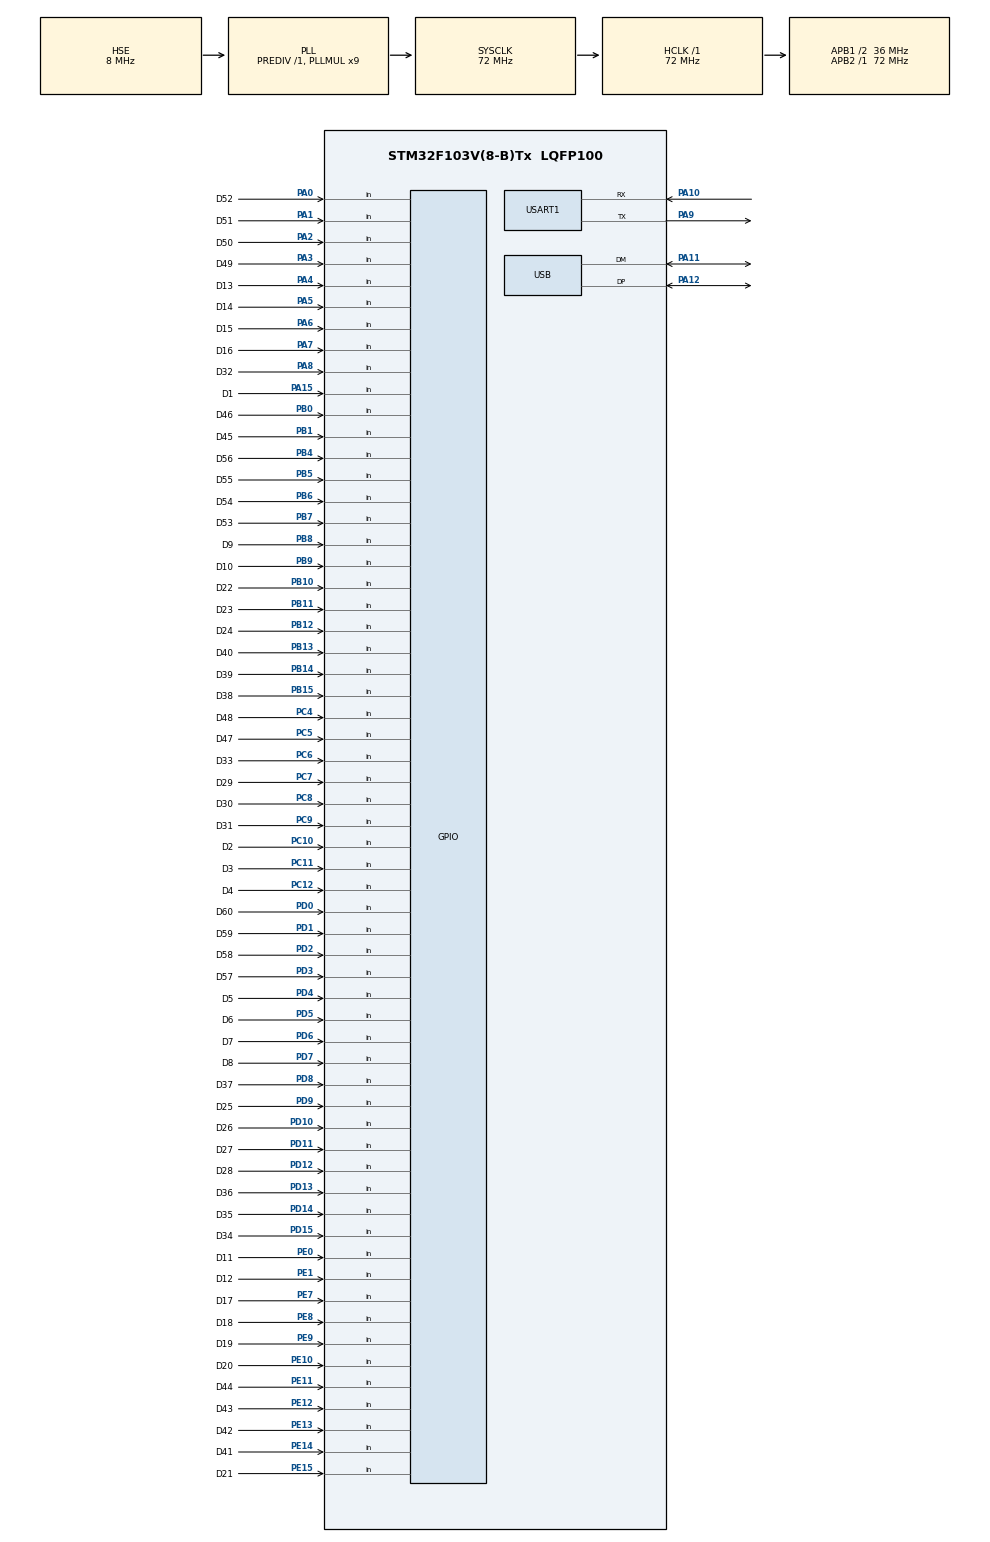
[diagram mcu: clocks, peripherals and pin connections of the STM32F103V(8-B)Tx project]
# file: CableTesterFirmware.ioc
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Mcu.Family=STM32F1
Mcu.Name=STM32F103V(8-B)Tx
Mcu.Package=LQFP100
NVIC.PriorityGroup=NVIC_PRIORITYGROUP_4
NVIC.USART1_IRQn=true\:5\:0\:true\:false\:true\:true\:true\:true
NVIC.USB_LP_CAN1_RX0_IRQn=true\:0\:0\:false\:false\:true\:false\:true\:true
OSC_IN.Mode=HSE-External-Oscillator
OSC_IN.Signal=RCC_OSC_IN
OSC_OUT.Mode=HSE-External-Oscillator
OSC_OUT.Signal=RCC_OSC_OUT
PA0-WKUP.GPIO_Label=D52
PA0-WKUP.GPIO_PuPd=GPIO_PULLDOWN
PA0-WKUP.Signal=GPIO_Input
PA1.GPIO_Label=D51
PA1.GPIO_PuPd=GPIO_PULLDOWN
PA1.Signal=GPIO_Input
PA10.Mode=Asynchronous
PA10.Signal=USART1_RX
PA11.Mode=Device
PA11.Signal=USB_DM
PA12.Mode=Device
PA12.Signal=USB_DP
PA13.Mode=Serial_Wire
PA13.Signal=SYS_JTMS-SWDIO
PA14.Mode=Serial_Wire
PA14.Signal=SYS_JTCK-SWCLK
PA15.GPIO_Label=D1
PA15.GPIO_PuPd=GPIO_PULLDOWN
PA15.Signal=GPIO_Input
PA2.GPIO_Label=D50
PA2.GPIO_PuPd=GPIO_PULLDOWN
PA2.Signal=GPIO_Input
PA3.GPIO_Label=D49
PA3.GPIO_PuPd=GPIO_PULLDOWN
PA3.Signal=GPIO_Input
PA4.GPIO_Label=D13
PA4.GPIO_PuPd=GPIO_PULLDOWN
PA4.Signal=GPIO_Input
PA5.GPIO_Label=D14
PA5.GPIO_PuPd=GPIO_PULLDOWN
PA5.Signal=GPIO_Input
PA6.GPIO_Label=D15
PA6.GPIO_PuPd=GPIO_PULLDOWN
PA6.Signal=GPIO_Input
PA7.GPIO_Label=D16
PA7.GPIO_PuPd=GPIO_PULLDOWN
PA7.Signal=GPIO_Input
PA8.GPIO_Label=D32
PA8.GPIO_PuPd=GPIO_PULLDOWN
PA8.Signal=GPIO_Input
PA9.Mode=Asynchronous
PA9.Signal=USART1_TX
PB0.GPIO_Label=D46
PB0.GPIO_PuPd=GPIO_PULLDOWN
PB0.Signal=GPIO_Input
PB1.GPIO_Label=D45
PB1.GPIO_PuPd=GPIO_PULLDOWN
PB1.Signal=GPIO_Input
PB10.GPIO_Label=D22
PB10.GPIO_PuPd=GPIO_PULLDOWN
PB10.Signal=GPIO_Input
PB11.GPIO_Label=D23
PB11.GPIO_PuPd=GPIO_PULLDOWN
PB11.Signal=GPIO_Input
PB12.GPIO_Label=D24
PB12.GPIO_PuPd=GPIO_PULLDOWN
PB12.Signal=GPIO_Input
PB13.GPIO_Label=D40
PB13.GPIO_PuPd=GPIO_PULLDOWN
PB13.Signal=GPIO_Input
PB14.GPIO_Label=D39
PB14.GPIO_PuPd=GPIO_PULLDOWN
PB14.Signal=GPIO_Input
PB15.GPIO_Label=D38
PB15.GPIO_PuPd=GPIO_PULLDOWN
PB15.Signal=GPIO_Input
PB4.GPIO_Label=D56
PB4.GPIO_PuPd=GPIO_PULLDOWN
PB4.Signal=GPIO_Input
PB5.GPIO_Label=D55
PB5.GPIO_PuPd=GPIO_PULLDOWN
PB5.Signal=GPIO_Input
PB6.GPIO_Label=D54
PB6.GPIO_PuPd=GPIO_PULLDOWN
PB6.Signal=GPIO_Input
PB7.GPIO_Label=D53
PB7.GPIO_PuPd=GPIO_PULLDOWN
PB7.Signal=GPIO_Input
PB8.GPIO_Label=D9
PB8.GPIO_PuPd=GPIO_PULLDOWN
PB8.Signal=GPIO_Input
PB9.GPIO_Label=D10
PB9.GPIO_PuPd=GPIO_PULLDOWN
PB9.Signal=GPIO_Input
PC10.GPIO_Label=D2
PC10.GPIO_PuPd=GPIO_PULLDOWN
PC10.Signal=GPIO_Input
PC11.GPIO_Label=D3
PC11.GPIO_PuPd=GPIO_PULLDOWN
PC11.Signal=GPIO_Input
PC12.GPIO_Label=D4
PC12.GPIO_PuPd=GPIO_PULLDOWN
PC12.Signal=GPIO_Input
PC4.GPIO_Label=D48
PC4.GPIO_PuPd=GPIO_PULLDOWN
PC4.Signal=GPIO_Input
PC5.GPIO_Label=D47
PC5.GPIO_PuPd=GPIO_PULLDOWN
PC5.Signal=GPIO_Input
PC6.GPIO_Label=D33
PC6.GPIO_PuPd=GPIO_PULLDOWN
PC6.Signal=GPIO_Input
PC7.GPIO_Label=D29
PC7.GPIO_PuPd=GPIO_PULLDOWN
PC7.Signal=GPIO_Input
PC8.GPIO_Label=D30
PC8.GPIO_PuPd=GPIO_PULLDOWN
PC8.Signal=GPIO_Input
PC9.GPIO_Label=D31
PC9.GPIO_PuPd=GPIO_PULLDOWN
PC9.Signal=GPIO_Input
PD0.GPIO_Label=D60
PD0.GPIO_PuPd=GPIO_PULLDOWN
PD0.Signal=GPIO_Input
PD1.GPIO_Label=D59
PD1.GPIO_PuPd=GPIO_PULLDOWN
PD1.Signal=GPIO_Input
PD10.GPIO_Label=D26
PD10.GPIO_PuPd=GPIO_PULLDOWN
PD10.Signal=GPIO_Input
PD11.GPIO_Label=D27
PD11.GPIO_PuPd=GPIO_PULLDOWN
PD11.Signal=GPIO_Input
PD12.GPIO_Label=D28
PD12.GPIO_PuPd=GPIO_PULLDOWN
PD12.Signal=GPIO_Input
PD13.GPIO_Label=D36
PD13.GPIO_PuPd=GPIO_PULLDOWN
PD13.Signal=GPIO_Input
PD14.GPIO_Label=D35
PD14.GPIO_PuPd=GPIO_PULLDOWN
PD14.Signal=GPIO_Input
PD15.GPIO_Label=D34
PD15.GPIO_PuPd=GPIO_PULLDOWN
PD15.Signal=GPIO_Input
PD2.GPIO_Label=D58
PD2.GPIO_PuPd=GPIO_PULLDOWN
PD2.Signal=GPIO_Input
PD3.GPIO_Label=D57
PD3.GPIO_PuPd=GPIO_PULLDOWN
PD3.Signal=GPIO_Input
PD4.GPIO_Label=D5
PD4.GPIO_PuPd=GPIO_PULLDOWN
PD4.Signal=GPIO_Input
PD5.GPIO_Label=D6
PD5.GPIO_PuPd=GPIO_PULLDOWN
PD5.Signal=GPIO_Input
PD6.GPIO_Label=D7
PD6.GPIO_PuPd=GPIO_PULLDOWN
PD6.Signal=GPIO_Input
PD7.GPIO_Label=D8
PD7.GPIO_PuPd=GPIO_PULLDOWN
PD7.Signal=GPIO_Input
PD8.GPIO_Label=D37
PD8.GPIO_PuPd=GPIO_PULLDOWN
PD8.Signal=GPIO_Input
PD9.GPIO_Label=D25
PD9.GPIO_PuPd=GPIO_PULLDOWN
PD9.Signal=GPIO_Input
PE0.GPIO_Label=D11
PE0.GPIO_PuPd=GPIO_PULLDOWN
PE0.Signal=GPIO_Input
PE1.GPIO_Label=D12
PE1.GPIO_PuPd=GPIO_PULLDOWN
PE1.Signal=GPIO_Input
PE10.GPIO_Label=D20
PE10.GPIO_PuPd=GPIO_PULLDOWN
PE10.Signal=GPIO_Input
PE11.GPIO_Label=D44
PE11.GPIO_PuPd=GPIO_PULLDOWN
PE11.Signal=GPIO_Input
PE12.GPIO_Label=D43
PE12.GPIO_PuPd=GPIO_PULLDOWN
PE12.Signal=GPIO_Input
PE13.GPIO_Label=D42
PE13.GPIO_PuPd=GPIO_PULLDOWN
PE13.Signal=GPIO_Input
PE14.GPIO_Label=D41
PE14.GPIO_PuPd=GPIO_PULLDOWN
PE14.Signal=GPIO_Input
PE15.GPIO_Label=D21
PE15.GPIO_PuPd=GPIO_PULLDOWN
PE15.Signal=GPIO_Input
PE7.GPIO_Label=D17
PE7.GPIO_PuPd=GPIO_PULLDOWN
PE7.Signal=GPIO_Input
PE8.GPIO_Label=D18
PE8.GPIO_PuPd=GPIO_PULLDOWN
PE8.Signal=GPIO_Input
PE9.GPIO_Label=D19
PE9.GPIO_PuPd=GPIO_PULLDOWN
PE9.Signal=GPIO_Input
ProjectManager.HeapSize=0x200
ProjectManager.StackSize=0x400
ProjectManager.TargetToolchain=CMake
RCC.AHBFreq_Value=72000000
RCC.APB1CLKDivider=RCC_HCLK_DIV2
RCC.APB1Freq_Value=36000000
RCC.APB1TimFreq_Value=72000000
RCC.APB2Freq_Value=72000000
RCC.APB2TimFreq_Value=72000000
RCC.HCLKFreq_Value=72000000
RCC.PLLMUL=RCC_PLL_MUL9
RCC.PLLSourceVirtual=RCC_PLLSOURCE_HSE
RCC.SYSCLKFreq_VALUE=72000000
RCC.SYSCLKSource=RCC_SYSCLKSOURCE_PLLCLK
RCC.USBFreq_Value=48000000
RCC.USBPrescaler=RCC_USBCLKSOURCE_PLL_DIV1_5
USART1.VirtualMode=VM_ASYNC
USB_DEVICE.CLASS_NAME_FS=WINUSB
USB_DEVICE.MANUFACTURER_STRING=Ortman
USB_DEVICE.PID_WINUSB_FS=0x5744
USB_DEVICE.PRODUCT_STRING_WINUSB_FS=CableTester
USB_DEVICE.USBD_DEBUG_LEVEL=3
USB_DEVICE.USBD_MSFT_ENABLED=1
USB_DEVICE.USBD_SELF_POWERED=0
USB_DEVICE.VID=0x483
USB_DEVICE.VirtualMode=WinUSB
USB_DEVICE.VirtualModeFS=WinUSB_FS
VP_USB_DEVICE_VS_USB_DEVICE_WINUSB_FS.Mode=WINUSB_FS
board=custom

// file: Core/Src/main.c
/* USER CODE BEGIN Header */
/**
  ******************************************************************************
  * @file           : main.c
  * @brief          : Main program body
  ******************************************************************************
  * @attention
  *
  * Copyright (c) 2026 STMicroelectronics.
  * All rights reserved.
  *
  * This software is licensed under terms that can be found in the LICENSE file
  * in the root directory of this software component.
  * If no LICENSE file comes with this software, it is provided AS-IS.
  *
  ******************************************************************************
  */
/* USER CODE END Header */
#include "main.h"
#include "usart.h"
#include "usb_device.h"
#include "gpio.h"

/* USER CODE BEGIN Includes */
#include "ct_app.h"
#include "ct_nextion.h"
#include "ct_usb.h"
#include "SEGGER_RTT.h"
/* USER CODE END Includes */

/* USER CODE BEGIN PV */
#if DEBUG
static CtTestResult ctTestResult;
#endif

/* USER CODE END PV */

void SystemClock_Config(void);

/* USER CODE BEGIN 0 */
#if DEBUG
/* Logs the measured connections, to check the board without a cable schema */
static void CtDebug_LogScan(void)
{
  CtTest_Scan(&ctTestResult);
  Log("Scan of the slot pins:\n");
  for (uint8_t a = 1; a <= CT_PIN_COUNT; ++a) {
    CtPinMask connected = ctTestResult.conn[a - 1];
    if (connected == 0) continue;
    Log("  D%u:", a);
    for (uint8_t b = 1; b <= CT_PIN_COUNT; ++b) {
      if (connected & CT_PIN_BIT(b)) Log(" D%u", b);
    }
    Log("\n");
  }
}

/* Logs the geometry of the display objects, to check the HMI project */
static void CtDebug_LogDisplay(void)
{
  static const char* const attributes[] = {
    "dp", "cablePic.x", "cablePic.y", "cablePic.w", "cablePic.h",
    "errPic1.x", "errPic1.y", "errPic1.w", "errPic1.h", "cableName.val", "errorList.val"
  };
  for (unsigned i = 0; i < sizeof(attributes) / sizeof(attributes[0]); ++i) {
    int32_t value;
    if (CtNextion_GetNumber(attributes[i], &value)) {
      Log("Display: %s = %ld\n", attributes[i], (long)value);
    } else {
      Log("Display: %s - no answer\n", attributes[i]);
    }
  }
}
#endif /* DEBUG */

/* USER CODE END 0 */

int main(void)
{

  /* MCU Configuration--------------------------------------------------------*/

  /* Reset of all peripherals, Initializes the Flash interface and the Systick. */
  HAL_Init();

  /* Configure the system clock */
  SystemClock_Config();

  /* USER CODE BEGIN SysInit */
  Log("\n\nPrintf debug work!\n");
  CtUsb_Disconnect();
  CtApp_EarlyInit();
  CtUsb_Connect();
  /* USER CODE END SysInit */

  /* Initialize all configured peripherals */
  MX_GPIO_Init();
  MX_USART1_UART_Init();
  MX_USB_DEVICE_Init();
  /* USER CODE BEGIN 2 */
  CtPins_Init();
  CtApp_Init();
#if DEBUG
  CtDebug_LogScan();
  CtDebug_LogDisplay();
#endif

  /* USER CODE END 2 */

  /* Infinite loop */
  while (1)
  {

    /* USER CODE BEGIN 3 */
    CtApp_Poll();
  }
  /* USER CODE END 3 */
}

void SystemClock_Config(void)
{
  RCC_OscInitTypeDef RCC_OscInitStruct = {0};
  RCC_ClkInitTypeDef RCC_ClkInitStruct = {0};
  RCC_PeriphCLKInitTypeDef PeriphClkInit = {0};

  /** Initializes the RCC Oscillators according to the specified parameters
  * in the RCC_OscInitTypeDef structure.
  */
  RCC_OscInitStruct.OscillatorType = RCC_OSCILLATORTYPE_HSE;
  RCC_OscInitStruct.HSEState = RCC_HSE_ON;
  RCC_OscInitStruct.HSEPredivValue = RCC_HSE_PREDIV_DIV1;
  RCC_OscInitStruct.HSIState = RCC_HSI_ON;
  RCC_OscInitStruct.PLL.PLLState = RCC_PLL_ON;
  RCC_OscInitStruct.PLL.PLLSource = RCC_PLLSOURCE_HSE;
  RCC_OscInitStruct.PLL.PLLMUL = RCC_PLL_MUL9;
  if (HAL_RCC_OscConfig(&RCC_OscInitStruct) != HAL_OK)
  {
    Error_Handler();
  }

  /** Initializes the CPU, AHB and APB buses clocks
  */
  RCC_ClkInitStruct.ClockType = RCC_CLOCKTYPE_HCLK|RCC_CLOCKTYPE_SYSCLK
                              |RCC_CLOCKTYPE_PCLK1|RCC_CLOCKTYPE_PCLK2;
  RCC_ClkInitStruct.SYSCLKSource = RCC_SYSCLKSOURCE_PLLCLK;
  RCC_ClkInitStruct.AHBCLKDivider = RCC_SYSCLK_DIV1;
  RCC_ClkInitStruct.APB1CLKDivider = RCC_HCLK_DIV2;
  RCC_ClkInitStruct.APB2CLKDivider = RCC_HCLK_DIV1;

  if (HAL_RCC_ClockConfig(&RCC_ClkInitStruct, FLASH_LATENCY_2) != HAL_OK)
  {
    Error_Handler();
  }
  PeriphClkInit.PeriphClockSelection = RCC_PERIPHCLK_USB;
  PeriphClkInit.UsbClockSelection = RCC_USBCLKSOURCE_PLL_DIV1_5;
  if (HAL_RCCEx_PeriphCLKConfig(&PeriphClkInit) != HAL_OK)
  {
    Error_Handler();
  }
}

/* USER CODE BEGIN 4 */
#if DEBUG
int _write(int fd, char* ptr, int len) {
  return  SEGGER_RTT_Write(0, ptr, len);
}
#endif /* DEBUG */
/* USER CODE END 4 */

void Error_Handler(void)
{
  __disable_irq();
  while (1)
  {
  }
}
